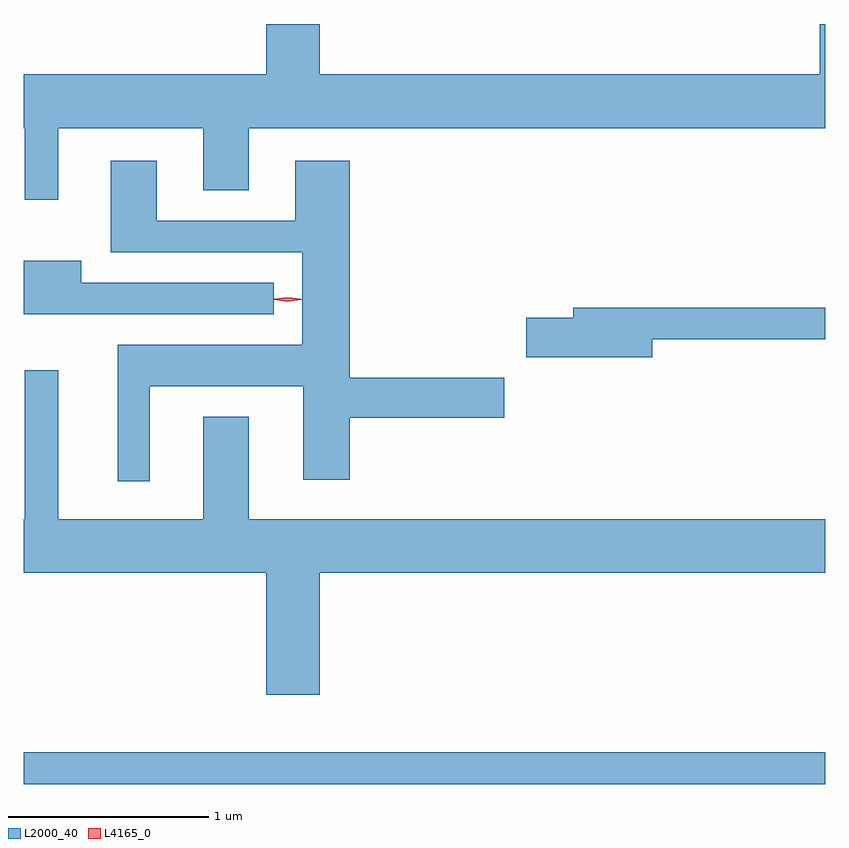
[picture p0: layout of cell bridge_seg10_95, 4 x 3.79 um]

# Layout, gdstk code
import gdstk
lib = gdstk.Library(unit=1e-6, precision=1e-09)
def R(c, l, rs):  # rectangles x0, y0, x1, y1
    for r in rs: c.add(gdstk.rectangle(r[:2], r[2:], *l))
def P(c, l, *ps):  # polygons
    for p in ps: c.add(gdstk.Polygon(p, *l))
L2000_40 = (2000, 40)
L4165_0 = (4165, 0)

bridge_seg10_95 = lib.new_cell('bridge_seg10_95')
R(bridge_seg10_95, L2000_40, [(1572.507,2152.821,1576.507,2152.979)])
P(bridge_seg10_95, L2000_40, [(1572.679,2156.096),(1573.401,2156.096),(1573.401,2155.786),(1573.629,2155.786),(1573.629,2156.096),(1576.507,2156.096),(1576.507,2156.616),(1576.481,2156.616),(1576.481,2156.364),(1573.984,2156.364),(1573.984,2156.616),(1573.716,2156.616),(1573.716,2156.364),(1572.507,2156.364),(1572.507,2156.096),(1572.511,2156.096),(1572.511,2155.738),(1572.679,2155.738)],
  [(1573.134,2154.806),(1573.901,2154.806),(1573.901,2154.341),(1574.134,2154.341),(1574.134,2154.651),(1574.904,2154.651),(1574.904,2154.849),(1574.134,2154.849),(1574.134,2155.934),(1573.861,2155.934),(1573.861,2155.634),(1573.169,2155.634),(1573.169,2155.934),(1572.941,2155.934),(1572.941,2155.476),(1573.896,2155.476),(1573.896,2155.014),(1572.976,2155.014),(1572.976,2154.333),(1573.134,2154.333)],
  [(1573.753,2155.324),(1572.794,2155.324),(1572.794,2155.434),(1572.507,2155.434),(1572.507,2155.166),(1573.753,2155.166)],
  [(1575.644,2155.041),(1576.507,2155.041),(1576.507,2155.199),(1575.251,2155.199),(1575.251,2155.149),(1575.016,2155.149),(1575.016,2154.951),(1575.644,2154.951)],
  [(1573.984,2153.876),(1576.507,2153.876),(1576.507,2154.144),(1573.629,2154.144),(1573.629,2154.654),(1573.401,2154.654),(1573.401,2154.144),(1572.679,2154.144),(1572.679,2154.888),(1572.511,2154.888),(1572.511,2154.144),(1572.507,2154.144),(1572.507,2153.876),(1573.716,2153.876),(1573.716,2153.266),(1573.984,2153.266)])
P(bridge_seg10_95, L4165_0, [(1573.823,2155.229),(1573.754,2155.239),(1573.753,2155.24),(1573.754,2155.24),(1573.823,2155.249),(1573.892,2155.24),(1573.893,2155.239),(1573.892,2155.238)],
  [(1573.823,2155.232),(1573.757,2155.242),(1573.757,2155.242),(1573.757,2155.243),(1573.823,2155.252),(1573.889,2155.243),(1573.89,2155.242),(1573.889,2155.242)])

lib.write_gds('bridge_seg10_95.gds')
